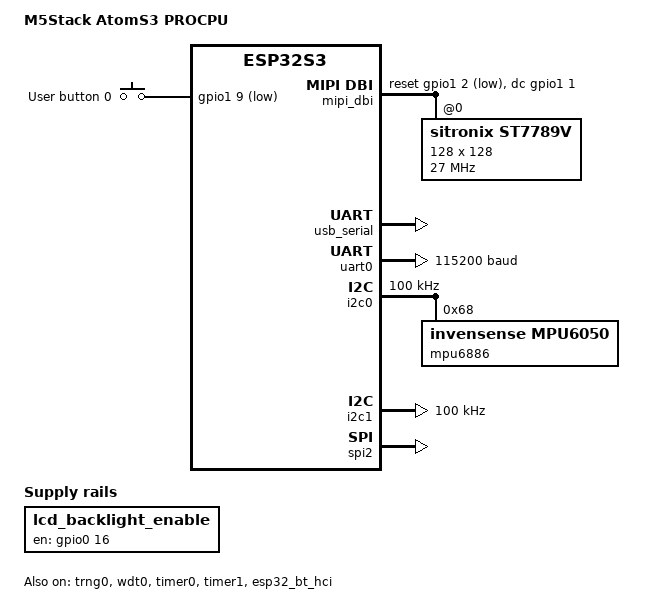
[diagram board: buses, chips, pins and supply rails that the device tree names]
/*
 * Copyright (c) 2023 Benjamin Cabé <benjamin@zephyrproject.org>
 *
 * SPDX-License-Identifier: Apache-2.0
 */
/dts-v1/;

#include <espressif/esp32s3/esp32s3_fn8.dtsi>
#include "m5stack_atoms3-pinctrl.dtsi"
#include "grove_connectors.dtsi"
#include <zephyr/dt-bindings/input/input-event-codes.h>
#include <zephyr/dt-bindings/mipi_dbi/mipi_dbi.h>
#include <espressif/partitions_0x0_amp.dtsi>

/ {
	model = "M5Stack AtomS3 PROCPU";
	compatible = "m5stack,atoms3";

	chosen {
		zephyr,sram = &sram1;
		zephyr,console = &usb_serial;
		zephyr,shell-uart = &usb_serial;
		zephyr,flash = &flash0;
		zephyr,code-partition = &slot0_partition;
		zephyr,display = &st7789v;
		zephyr,bt-hci = &esp32_bt_hci;
	};

	aliases {
		sw0 = &user_button_0;
		watchdog0 = &wdt0;
		accel0 = &mpu6886;
	};

	gpio_keys {
		compatible = "gpio-keys";

		/* This is the button that's underneath the LCD display  */
		user_button_0: button_0 {
			label = "User button 0";
			gpios = <&gpio1 9 GPIO_ACTIVE_LOW>; // G42
			zephyr,code = <INPUT_KEY_0>;
		};
	};

	/* Regulators */
	lcd_backlight_en {
		compatible = "regulator-fixed";
		regulator-name = "lcd_backlight_enable";
		enable-gpios = <&gpio0 16 GPIO_ACTIVE_HIGH>;
		regulator-boot-on;
	};

	mipi_dbi {
		compatible = "zephyr,mipi-dbi-spi";
		spi-dev = <&spi2>;
		dc-gpios = <&gpio1 1 GPIO_ACTIVE_HIGH>;	     /* G33 */
		reset-gpios = <&gpio1 2 GPIO_ACTIVE_LOW>;    /* G34 */
		write-only;
		#address-cells = <1>;
		#size-cells = <0>;

		st7789v: st7789v@0 {
			compatible = "sitronix,st7789v";
			reg = <0>;
			mipi-max-frequency = <27000000>;

			width = <128>;
			height = <128>;
			x-offset = <2>;
			y-offset = <1>;

			vcom = <0x28>;
			gctrl = <0x35>;
			vrhs = <0x10>;
			vdvs = <0x20>;
			mdac = <0x00>;
			gamma = <0x01>;
			colmod = <0x55>;
			lcm = <0x0c>;
			porch-param = [0c 0c 00 33 33];
			cmd2en-param = [5a 69 02 00];
			pwctrl1-param = [a4 a1];
			pvgam-param = [d0 00 02 07 0a 28 32 44 42 06 0e 12 14 17];
			nvgam-param = [d0 00 02 07 0a 28 31 54 47 0e 1c 17 1b 1e];
			ram-param = [00 E0];
			rgb-param = [40 02 14];
			mipi-mode = "MIPI_DBI_MODE_SPI_4WIRE";
		};

	};

};

&usb_serial {
	status = "okay";
};

&uart0 {
	status = "okay";
	current-speed = <115200>;
	pinctrl-0 = <&uart0_default>;
	pinctrl-names = "default";
};

&i2c0 {
	status = "okay";
	clock-frequency = <I2C_BITRATE_STANDARD>;
	pinctrl-0 = <&i2c0_default>;
	pinctrl-names = "default";

	mpu6886: mpu6886@68 {
		compatible = "invensense,mpu6050";
		reg = <0x68>;
		status = "okay";
	};
};

&i2c1 {
	status = "okay";
	clock-frequency = <I2C_BITRATE_STANDARD>;
	pinctrl-0 = <&i2c1_default>;
	pinctrl-names = "default";
};

&trng0 {
	status = "okay";
};

&spi2 {
	#address-cells = <1>;
	#size-cells = <0>;
	status = "okay";
	pinctrl-0 = <&spim2_default>;
	pinctrl-names = "default";
};

&gpio0 {
	status = "okay";
};

&gpio1 {
	status = "okay";
};

&wdt0 {
	status = "okay";
};

&timer0 {
	status = "okay";
};

&timer1 {
	status = "okay";
};

&esp32_bt_hci {
	status = "okay";
};
